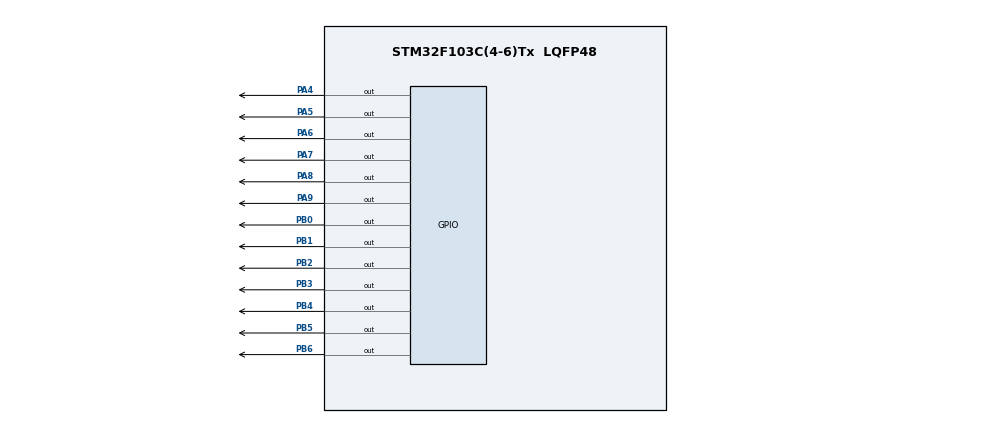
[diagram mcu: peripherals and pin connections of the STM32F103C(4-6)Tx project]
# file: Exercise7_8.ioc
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Mcu.Family=STM32F1
Mcu.Name=STM32F103C(4-6)Tx
Mcu.Package=LQFP48
NVIC.PriorityGroup=NVIC_PRIORITYGROUP_4
NVIC.TIM2_IRQn=true\:0\:0\:false\:false\:true\:true\:true
PA4.Signal=GPIO_Output
PA5.Signal=GPIO_Output
PA6.Signal=GPIO_Output
PA7.Signal=GPIO_Output
PA8.Signal=GPIO_Output
PA9.Signal=GPIO_Output
PB0.Signal=GPIO_Output
PB1.Signal=GPIO_Output
PB2.Signal=GPIO_Output
PB3.Signal=GPIO_Output
PB4.Signal=GPIO_Output
PB5.Signal=GPIO_Output
PB6.Signal=GPIO_Output
PD0-OSC_IN.Mode=HSE-External-Oscillator
PD0-OSC_IN.Signal=RCC_OSC_IN
PD1-OSC_OUT.Mode=HSE-External-Oscillator
PD1-OSC_OUT.Signal=RCC_OSC_OUT
ProjectManager.HeapSize=0x200
ProjectManager.StackSize=0x400
ProjectManager.TargetToolchain=STM32CubeIDE
RCC.APB1Freq_Value=8000000
RCC.APB2Freq_Value=8000000
TIM2.Period=10-1
TIM2.Prescaler=8000-1
VP_SYS_VS_ND.Mode=No_Debug
VP_TIM2_VS_ClockSourceINT.Mode=Internal
board=custom

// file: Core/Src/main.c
/* USER CODE BEGIN Header */
/**
  ******************************************************************************
  * @file           : main.c
  * @brief          : Main program body
  ******************************************************************************
  * @attention
  *
  * <h2><center>&copy; Copyright (c) 2021 STMicroelectronics.
  * All rights reserved.</center></h2>
  *
  * This software component is licensed by ST under BSD 3-Clause license,
  * the "License"; You may not use this file except in compliance with the
  * License. You may obtain a copy of the License at:
  *                        opensource.org/licenses/BSD-3-Clause
  *
  ******************************************************************************
  */
/* USER CODE END Header */
#include "main.h"

TIM_HandleTypeDef htim2;

void SystemClock_Config(void);
static void MX_GPIO_Init(void);
static void MX_TIM2_Init(void);

/* USER CODE BEGIN 0 */
int timer0_counter = 0;
int timer0_flag = 0;
int TIMER_CYCLE = 10;

void setTimer0(int duration){
	timer0_counter = duration/TIMER_CYCLE;
	timer0_flag = 0;
}

void timer_run(){
	if(timer0_counter > 0){
		timer0_counter--;
		if(timer0_counter == 0){
			timer0_flag = 1;
		}
	}
}

//g f e d c b a => PB6 PB5 PB4 PB3 PB2 PB1 PB0
int nums[10] = {
		0x40,				//0
		0x79, 				//1
		0x24,				//2
		0x30,				//3
		0x19,				//4
		0x12,				//5
		0x02,				//6
		0x70,				//7
		0x00,				//8
		0x10};				//9
//Số LED 7SEG tối đa
const int MAX_LED = 4;
//Mảng để biết led nào hiển thị
int enable[4] = {0xE, 0xD, 0xB, 0x7};
//Mảng chứa số sẽ hiện trên các LED 7 SEG
int led_buffer[4] = {5, 2, 8, 9};
int hour = 15, minute = 8, second = 50;
int index_led = 0;
//Hiển thị số trên LED 7 đoạn bằng đưa vào số ở dãy nums
//Sau đó lấy từng bit rồi viết vào trong PIN
//Bằng cách dịch từng bit và and với 1;
void display7SEG(int count){
	HAL_GPIO_WritePin(GPIOB, GPIO_PIN_0, (count>>0 & 0x1));
	HAL_GPIO_WritePin(GPIOB, GPIO_PIN_1, (count>>1 & 0x1));
	HAL_GPIO_WritePin(GPIOB, GPIO_PIN_2, (count>>2 & 0x1));
	HAL_GPIO_WritePin(GPIOB, GPIO_PIN_3, (count>>3 & 0x1));
	HAL_GPIO_WritePin(GPIOB, GPIO_PIN_4, (count>>4 & 0x1));
	HAL_GPIO_WritePin(GPIOB, GPIO_PIN_5, (count>>5 & 0x1));
	HAL_GPIO_WritePin(GPIOB, GPIO_PIN_6, (count>>6 & 0x1));
}
//Hàm để chọn LED 7 đoạn nào được hiển thị
void setEnable(int num){
	HAL_GPIO_WritePin(GPIOA, GPIO_PIN_6, (num>>0 & 0x1));
	HAL_GPIO_WritePin(GPIOA, GPIO_PIN_7, (num>>1 & 0x1));
	HAL_GPIO_WritePin(GPIOA, GPIO_PIN_8, (num>>2 & 0x1));
	HAL_GPIO_WritePin(GPIOA, GPIO_PIN_9, (num>>3 & 0x1));
}
//Hàm update lại số hiển thị trên LED 7SEG và LED 7SEG nào được hiển thị
void update7SEG(int index){
		display7SEG(nums[led_buffer[index]]);	//Hiển thị led_buffer[index] trên LED 7 SEG
		setEnable(enable[index]);				//Set enable LED 7 SEG thứ index hoạt động
}

void updateClockBuffer(){
//	Update hour to led_buffer
//	Lấy con số hàng chục của hour
	led_buffer[0] = hour/10;
//	Lấy con số hàng đơn vị của hour
	led_buffer[1] = hour%10;
//	Update minute to led_buffer
//	Lấy con số hàng chục của minute
	led_buffer[2] = minute/10;
// Lấy con số hàng đơn vị của minute
	led_buffer[3] = minute%10;
}

/* USER CODE END 0 */

int main(void)
{

  /* MCU Configuration--------------------------------------------------------*/

  /* Reset of all peripherals, Initializes the Flash interface and the Systick. */
  HAL_Init();

  /* Configure the system clock */
  SystemClock_Config();

  /* Initialize all configured peripherals */
  MX_GPIO_Init();
  MX_TIM2_Init();
  /* USER CODE BEGIN 2 */
  HAL_TIM_Base_Start_IT(&htim2);
  /* USER CODE END 2 */
  /* Infinite loop */
  /* USER CODE BEGIN WHILE */
//  Delay 1s đầu tiên
  setTimer0(1000);
  while (1)
  {
    /* USER CODE END WHILE */

    /* USER CODE BEGIN 3 */
//	  Kiểm tra thời gian delay đã đủ chưa?
//	  Delay mỗi lần 1s
	  if(timer0_flag == 1){
//		  Cập nhật second thêm 1 đơn vị
		  second++;
//		  Nếu second đến giây 60 thì reset về 0 và tăng minute thêm 1
		  if(second >= 60){
			  second = 0;
			  minute++;
		  }
//		  Nếu minute đến phút 60 thì reset về 0 và tăng hour thêm 1
		  if(minute >= 60){
			  minute = 0;
			  hour++;
		  }
//		  Nếu hour đến 23 giờ thì reset về 0
		  if(hour >= 24){
			  hour = 0;
		  }
//		  Chớp tắt các led
		  HAL_GPIO_TogglePin(GPIOA, GPIO_PIN_5);
		  HAL_GPIO_TogglePin(GPIOA, GPIO_PIN_4);
//		  Update lại hour, minute, second
		  updateClockBuffer();
//		  Hiện LED 7 đoạn tương ứng mỗi giây 1 LED 7 SEG
		  update7SEG(index_led++);
//		  Reset lại index_led
		  if(index_led > 3) index_led = 0;
//		  Set thời gian delay 1s
		  setTimer0(1000);
	  }
  }
  /* USER CODE END 3 */
}

void SystemClock_Config(void)
{
  RCC_OscInitTypeDef RCC_OscInitStruct = {0};
  RCC_ClkInitTypeDef RCC_ClkInitStruct = {0};

  /** Initializes the RCC Oscillators according to the specified parameters
  * in the RCC_OscInitTypeDef structure.
  */
  RCC_OscInitStruct.OscillatorType = RCC_OSCILLATORTYPE_HSI;
  RCC_OscInitStruct.HSIState = RCC_HSI_ON;
  RCC_OscInitStruct.HSICalibrationValue = RCC_HSICALIBRATION_DEFAULT;
  RCC_OscInitStruct.PLL.PLLState = RCC_PLL_NONE;
  if (HAL_RCC_OscConfig(&RCC_OscInitStruct) != HAL_OK)
  {
    Error_Handler();
  }
  /** Initializes the CPU, AHB and APB buses clocks
  */
  RCC_ClkInitStruct.ClockType = RCC_CLOCKTYPE_HCLK|RCC_CLOCKTYPE_SYSCLK
                              |RCC_CLOCKTYPE_PCLK1|RCC_CLOCKTYPE_PCLK2;
  RCC_ClkInitStruct.SYSCLKSource = RCC_SYSCLKSOURCE_HSI;
  RCC_ClkInitStruct.AHBCLKDivider = RCC_SYSCLK_DIV1;
  RCC_ClkInitStruct.APB1CLKDivider = RCC_HCLK_DIV1;
  RCC_ClkInitStruct.APB2CLKDivider = RCC_HCLK_DIV1;

  if (HAL_RCC_ClockConfig(&RCC_ClkInitStruct, FLASH_LATENCY_0) != HAL_OK)
  {
    Error_Handler();
  }
}

static void MX_TIM2_Init(void)
{

  TIM_ClockConfigTypeDef sClockSourceConfig = {0};
  TIM_MasterConfigTypeDef sMasterConfig = {0};

  htim2.Instance = TIM2;
  htim2.Init.Prescaler = 8000-1;
  htim2.Init.CounterMode = TIM_COUNTERMODE_UP;
  htim2.Init.Period = 10-1;
  htim2.Init.ClockDivision = TIM_CLOCKDIVISION_DIV1;
  htim2.Init.AutoReloadPreload = TIM_AUTORELOAD_PRELOAD_DISABLE;
  if (HAL_TIM_Base_Init(&htim2) != HAL_OK)
  {
    Error_Handler();
  }
  sClockSourceConfig.ClockSource = TIM_CLOCKSOURCE_INTERNAL;
  if (HAL_TIM_ConfigClockSource(&htim2, &sClockSourceConfig) != HAL_OK)
  {
    Error_Handler();
  }
  sMasterConfig.MasterOutputTrigger = TIM_TRGO_RESET;
  sMasterConfig.MasterSlaveMode = TIM_MASTERSLAVEMODE_DISABLE;
  if (HAL_TIMEx_MasterConfigSynchronization(&htim2, &sMasterConfig) != HAL_OK)
  {
    Error_Handler();
  }

}

static void MX_GPIO_Init(void)
{
  GPIO_InitTypeDef GPIO_InitStruct = {0};

  /* GPIO Ports Clock Enable */
  __HAL_RCC_GPIOD_CLK_ENABLE();
  __HAL_RCC_GPIOA_CLK_ENABLE();
  __HAL_RCC_GPIOB_CLK_ENABLE();

  /*Configure GPIO pin Output Level */
  HAL_GPIO_WritePin(GPIOA, GPIO_PIN_4|GPIO_PIN_5|GPIO_PIN_6|GPIO_PIN_7
                          |GPIO_PIN_8|GPIO_PIN_9, GPIO_PIN_RESET);

  /*Configure GPIO pin Output Level */
  HAL_GPIO_WritePin(GPIOB, GPIO_PIN_0|GPIO_PIN_1|GPIO_PIN_2|GPIO_PIN_3
                          |GPIO_PIN_4|GPIO_PIN_5|GPIO_PIN_6, GPIO_PIN_RESET);

  /*Configure GPIO pins : PA4 PA5 PA6 PA7
                           PA8 PA9 */
  GPIO_InitStruct.Pin = GPIO_PIN_4|GPIO_PIN_5|GPIO_PIN_6|GPIO_PIN_7
                          |GPIO_PIN_8|GPIO_PIN_9;
  GPIO_InitStruct.Mode = GPIO_MODE_OUTPUT_PP;
  GPIO_InitStruct.Pull = GPIO_NOPULL;
  GPIO_InitStruct.Speed = GPIO_SPEED_FREQ_LOW;
  HAL_GPIO_Init(GPIOA, &GPIO_InitStruct);

  /*Configure GPIO pins : PB0 PB1 PB2 PB3
                           PB4 PB5 PB6 */
  GPIO_InitStruct.Pin = GPIO_PIN_0|GPIO_PIN_1|GPIO_PIN_2|GPIO_PIN_3
                          |GPIO_PIN_4|GPIO_PIN_5|GPIO_PIN_6;
  GPIO_InitStruct.Mode = GPIO_MODE_OUTPUT_PP;
  GPIO_InitStruct.Pull = GPIO_NOPULL;
  GPIO_InitStruct.Speed = GPIO_SPEED_FREQ_LOW;
  HAL_GPIO_Init(GPIOB, &GPIO_InitStruct);

}

/* USER CODE BEGIN 4 */
void HAL_TIM_PeriodElapsedCallback(TIM_HandleTypeDef *htim){
	timer_run();
}
/* USER CODE END 4 */

void Error_Handler(void)
{
  __disable_irq();
  while (1)
  {
  }
}

/************************ (C) COPYRIGHT STMicroelectronics *****END OF FILE****/
